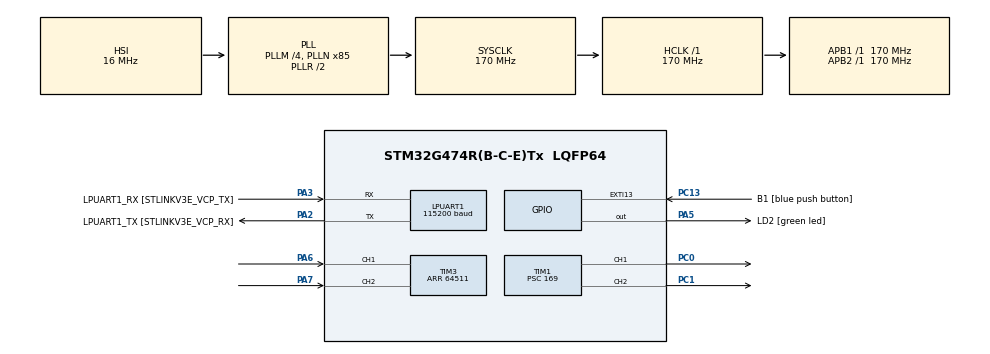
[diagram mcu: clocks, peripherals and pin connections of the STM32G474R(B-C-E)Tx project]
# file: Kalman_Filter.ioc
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ARM.CMSIS-DSP.1.15.0.CMSISJjDSP=Source
ARM.CMSIS.6.0.0.CMSISJjCORE=true
LPUART1.BaudRate=115200
LPUART1.WordLength=UART_WORDLENGTH_8B
Mcu.Family=STM32G4
Mcu.Name=STM32G474R(B-C-E)Tx
Mcu.Package=LQFP64
NVIC.EXTI15_10_IRQn=true\:0\:0\:false\:false\:true\:true\:true\:true
NVIC.PriorityGroup=NVIC_PRIORITYGROUP_4
NVIC.TIM4_IRQn=true\:0\:0\:false\:false\:true\:true\:true\:true
NVIC.TIM5_IRQn=true\:0\:0\:false\:false\:true\:true\:true\:true
PA13.GPIO_Label=T_SWDIO
PA13.Mode=Serial_Wire
PA13.Signal=SYS_JTMS-SWDIO
PA14.GPIO_Label=T_SWCLK
PA14.Mode=Serial_Wire
PA14.Signal=SYS_JTCK-SWCLK
PA2.GPIO_Label=LPUART1_TX [STLINKV3E_VCP_RX]
PA2.Mode=Asynchronous
PA2.Signal=LPUART1_TX
PA3.GPIO_Label=LPUART1_RX [STLINKV3E_VCP_TX]
PA3.Mode=Asynchronous
PA3.Signal=LPUART1_RX
PA5.GPIO_Label=LD2 [green led]
PA5.Signal=GPIO_Output
PA6.Signal=S_TIM3_CH1
PA7.Signal=S_TIM3_CH2
PB3.GPIO_Label=T_SWO
PB3.Signal=SYS_JTDO-SWO
PC0.Signal=S_TIM1_CH1
PC1.Signal=S_TIM1_CH2
PC13.GPIO_Label=B1 [blue push button]
PC13.Signal=GPXTI13
PC14-OSC32_IN.Mode=LSE-External-Oscillator
PC14-OSC32_IN.Signal=RCC_OSC32_IN
PC15-OSC32_OUT.Mode=LSE-External-Oscillator
PC15-OSC32_OUT.Signal=RCC_OSC32_OUT
PF0-OSC_IN.Mode=HSE-External-Oscillator
PF0-OSC_IN.Signal=RCC_OSC_IN
PF1-OSC_OUT.Mode=HSE-External-Oscillator
PF1-OSC_OUT.Signal=RCC_OSC_OUT
ProjectManager.HeapSize=0x200
ProjectManager.StackSize=0x400
ProjectManager.TargetToolchain=STM32CubeIDE
RCC.ADC12Freq_Value=170000000
RCC.ADC345Freq_Value=170000000
RCC.AHBFreq_Value=170000000
RCC.APB1Freq_Value=170000000
RCC.APB1TimFreq_Value=170000000
RCC.APB2Freq_Value=170000000
RCC.APB2TimFreq_Value=170000000
RCC.CortexFreq_Value=170000000
RCC.EXTERNAL_CLOCK_VALUE=12288000
RCC.HCLKFreq_Value=170000000
RCC.HSE_VALUE=24000000
RCC.HSI48_VALUE=48000000
RCC.HSI_VALUE=16000000
RCC.PLLM=RCC_PLLM_DIV4
RCC.PLLN=85
RCC.RTCClockSelection=RCC_RTCCLKSOURCE_LSE
RCC.SYSCLKFreq_VALUE=170000000
RCC.SYSCLKSource=RCC_SYSCLKSOURCE_PLLCLK
RCC.USBFreq_Value=170000000
RCC.VCOOutputFreq_Value=340000000
SH.S_TIM1_CH1.0=TIM1_CH1,PWM Generation1 CH1
SH.S_TIM1_CH2.0=TIM1_CH2,PWM Generation2 CH2
SH.S_TIM3_CH1.0=TIM3_CH1,Encoder_Interface
SH.S_TIM3_CH2.0=TIM3_CH2,Encoder_Interface
TIM1.Channel-PWM\ Generation1\ CH1=TIM_CHANNEL_1
TIM1.Channel-PWM\ Generation2\ CH2=TIM_CHANNEL_2
TIM1.PeriodNoDither=1000
TIM1.Prescaler=169
TIM3.EncoderMode=TIM_ENCODERMODE_TI12
TIM3.PeriodNoDither=64511
TIM4.PeriodNoDither=10
TIM4.Prescaler=169
TIM5.Prescaler=169
VP_ARM.CMSIS-DSP_VS_CMSISJjDSP_1.15.0_1.15.0.Mode=CMSISJjDSP
VP_ARM.CMSIS_VS_CMSISJjCORE_6.0.0_6.0.0.Mode=CMSISJjCORE
VP_SYS_VS_DBSignals.Mode=DisableDeadBatterySignals
VP_TIM1_VS_ClockSourceINT.Mode=Internal
VP_TIM4_VS_ClockSourceINT.Mode=Internal
VP_TIM5_VS_ClockSourceINT.Mode=Internal
board=NUCLEO-G474RE

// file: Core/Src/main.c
/* USER CODE BEGIN Header */
/**
  ******************************************************************************
  * @file           : main.c
  * @brief          : Main program body
  ******************************************************************************
  * @attention
  *
  * Copyright (c) 2024 STMicroelectronics.
  * All rights reserved.
  *
  * This software is licensed under terms that can be found in the LICENSE file
  * in the root directory of this software component.
  * If no LICENSE file comes with this software, it is provided AS-IS.
  *
  ***************************** 	*************************************************
  */
/* USER CODE END Header */
#include "main.h"

/* USER CODE BEGIN Includes */
#include "arm_math.h"

/* USER CODE END Includes */

UART_HandleTypeDef hlpuart1;

TIM_HandleTypeDef htim1;
TIM_HandleTypeDef htim3;
TIM_HandleTypeDef htim4;
TIM_HandleTypeDef htim5;

/* USER CODE BEGIN PV */
float diffTime;
int32_t diffPosition;
int start = 0;
uint32_t QEIReadRaw;
int PWM;
int timerCount;
int timerPWM;
int timerPWMCurve;
int timerPWMCurveMode;
float Voltage;
float Velo_Kalman_Lnw;
float Velo_Kalman_Wre[2];
float Acc_Kalman_Wre;
float Pos_Kalman_Wre[2];
float diffPosKalman;
float diffVelocity;
float diffVeloKalman;

typedef struct
{
// for record New / Old value to calculate dx / dt
	float Position[2];
	int QEIPosition;
	int TimeStamp[2];
	float Velocity[2];
	int QEIPostion_1turn;
	float QEIAngularVelocity;
	float QEIAngularVeloKalman;
	float QEIAcceleration;
}QEI_StructureTypeDef;
QEI_StructureTypeDef QEIdata = {0};
uint64_t _micros = 0;
enum
{
NEW,OLD
};

// �?ำห�?ดตัว�?�?ร Kalman
float32_t W_k[3] = {0.0f, 0.0f, 0.0f};
arm_matrix_instance_f32 W_k_matrix;

float32_t GW[3] = {0.0f, 0.0f, 0.0f};
arm_matrix_instance_f32 GW_matrix;

float32_t X_k[3] = {0.0f, 0.0f, 0.0f};
arm_matrix_instance_f32 X_k_matrix;

float32_t P_k[9] = {0.0f, 0.0f, 0.0f,
                    0.0f, 0.0f, 0.0f,
                    0.0f, 0.0f, 0.0f};
arm_matrix_instance_f32 P_k_matrix;

float32_t A[9] = {1.0f, 0.01f, 0.5*0.01*0.01f,
                  0.0f, 1.0f, 0.01f,
                  0.0f, 0.0f, 1.0f};
arm_matrix_instance_f32 A_matrix;

float32_t A_transpose[9] = {1.0f, 0.0f, 0.0f,
                            0.01f, 1.0f, 0.0f,
                            0.5*0.01*0.01f, 0.01f, 1.0f};
arm_matrix_instance_f32 A_transpose_matrix;

float32_t I[9] = {1.0f, 0.0f, 0.0f,
                  0.0f, 1.0f, 0.0f,
                  0.0f, 0.0f, 1.0f};
arm_matrix_instance_f32 I_matrix;

float32_t B[3] = {0.0f, 0.0f, 1.0f};
arm_matrix_instance_f32 B_matrix;

float32_t C[3] = {0.0f, 1.0f, 0.0f};
arm_matrix_instance_f32 C_matrix;

float32_t C_transpose[3] = {0.0f,
							1.0f,
							0.0f};
arm_matrix_instance_f32 C_transpose_matrix;

//float32_t G[3] = {0.0f, 0.0f, 1.0f};
float32_t G[3] = {0.5*0.01*0.01f,
				  0.01f,
				  1.0f};
arm_matrix_instance_f32 G_matrix;

float32_t G_transpose[3] = {0.5*0.01*0.01f, 0.01f, 1.0f};
arm_matrix_instance_f32 G_transpose_matrix;

float32_t Es_velocity[1] = {0.0f};
arm_matrix_instance_f32 Output_matrix;

arm_matrix_instance_f32 GGT_matrix;
float32_t GGT[9];

arm_matrix_instance_f32 GQGT_matrix;
float32_t GQGT[9];
//------------------------------------------- for equa ------------------------------------
// Compute Xk = Ax + Bu
arm_matrix_instance_f32 Bu_matrix;
float32_t Bu_data[3];
arm_matrix_instance_f32 Ax_matrix;
float32_t Ax_data[3];

// Compute (C * P_k * C^T + R)
arm_matrix_instance_f32 CP_matrix;
float32_t CP[3];
arm_matrix_instance_f32 CPCT_matrix;
float32_t CPCT[1];
arm_matrix_instance_f32 CPCTR_matrix;
float32_t CPCTR[1];

// Compute Kalman Gain: K = P_k * C^T * inv(C * P_k * C^T + R)
// Compute Xk = Ax + Bu
arm_matrix_instance_f32 Bu_matrix;
float32_t Bu_data[3];
arm_matrix_instance_f32 Ax_matrix;
float32_t Ax_data[3];

// Compute (C * P_k * C^T + R)
arm_matrix_instance_f32 CP_matrix;
float32_t CP[3];
arm_matrix_instance_f32 CPCT_matrix;
float32_t CPCT[1];
arm_matrix_instance_f32 CPCTR_matrix;
float32_t CPCTR[1];

// Compute Kalman Gain: K = P_k * C^T * inv(C * P_k * C^T + R)
arm_matrix_instance_f32 K_matrix;
float32_t K[3];
arm_matrix_instance_f32 PCT_matrix;
float32_t PCT[3];

// Compute inverse of (C * P_k * C^T + R)
arm_matrix_instance_f32 CPCTRinv_matrix;
float32_t CPCTRinv[1];

// Computation of the estimated state
arm_matrix_instance_f32 Cx_matrix;
float32_t Cx[1];
arm_matrix_instance_f32 yCx_matrix;
float32_t yCx[1];
arm_matrix_instance_f32 KyCx_matrix;
float32_t KyCx[3];

float32_t Q = 100.0f;
arm_matrix_instance_f32 R_matrix;
float32_t R[1] = {1.0f};

arm_matrix_instance_f32 Z_matrix;
float32_t Z[1];

arm_matrix_instance_f32 Velocity_matrix;

float Kalman_Speed;
/* USER CODE END PV */

void SystemClock_Config(void);
static void MX_GPIO_Init(void);
static void MX_LPUART1_UART_Init(void);
static void MX_TIM3_Init(void);
static void MX_TIM5_Init(void);
static void MX_TIM1_Init(void);
static void MX_TIM4_Init(void);
/* USER CODE BEGIN PFP */
uint64_t micros();
void QEIEncoderPosVel_Update();
void Kalman_Start();
float SteadyStateKalmanFilter(float32_t Vin,float32_t Velocity);
float KalmanFilter(float32_t Vin,float32_t Velocity);
/* USER CODE END PFP */

int main(void)
{

  /* MCU Configuration--------------------------------------------------------*/

  /* Reset of all peripherals, Initializes the Flash interface and the Systick. */
  HAL_Init();

  /* Configure the system clock */
  SystemClock_Config();

  /* Initialize all configured peripherals */
  MX_GPIO_Init();
  MX_LPUART1_UART_Init();
  MX_TIM3_Init();
  MX_TIM5_Init();
  MX_TIM1_Init();
  MX_TIM4_Init();
  /* USER CODE BEGIN 2 */
  HAL_TIM_Encoder_Start(&htim3,TIM_CHANNEL_ALL);
  HAL_TIM_Base_Start_IT(&htim5);
  HAL_TIM_Base_Start_IT(&htim4);
  HAL_TIM_PWM_Start(&htim1, TIM_CHANNEL_1);
  HAL_TIM_PWM_Start(&htim1, TIM_CHANNEL_2);
  Kalman_Start();
  /* USER CODE END 2 */

  /* Infinite loop */
  while (1)
  {

    /* USER CODE BEGIN 3 */
	  Voltage = 5.0*PWM/1000.0;
//	  PWM = 100 * sin(HAL_GetTick()/1000.0);

//	  if (start == 1)
//	  {
//		  __HAL_TIM_SET_COMPARE(&htim1, TIM_CHANNEL_1, 0);
//		  __HAL_TIM_SET_COMPARE(&htim1, TIM_CHANNEL_2, PWM);
//	  }
//	  else if (start == 0)
//	  {
//		  __HAL_TIM_SET_COMPARE(&htim1, TIM_CHANNEL_1, 0);
//		  __HAL_TIM_SET_COMPARE(&htim1, TIM_CHANNEL_2, 0);
//	  }

//	  QEIReadRaw = __HAL_TIM_GET_COUNTER(&htim3);

  }
  /* USER CODE END 3 */
}

void SystemClock_Config(void)
{
  RCC_OscInitTypeDef RCC_OscInitStruct = {0};
  RCC_ClkInitTypeDef RCC_ClkInitStruct = {0};

  /** Configure the main internal regulator output voltage
  */
  HAL_PWREx_ControlVoltageScaling(PWR_REGULATOR_VOLTAGE_SCALE1_BOOST);

  /** Initializes the RCC Oscillators according to the specified parameters
  * in the RCC_OscInitTypeDef structure.
  */
  RCC_OscInitStruct.OscillatorType = RCC_OSCILLATORTYPE_HSI;
  RCC_OscInitStruct.HSIState = RCC_HSI_ON;
  RCC_OscInitStruct.HSICalibrationValue = RCC_HSICALIBRATION_DEFAULT;
  RCC_OscInitStruct.PLL.PLLState = RCC_PLL_ON;
  RCC_OscInitStruct.PLL.PLLSource = RCC_PLLSOURCE_HSI;
  RCC_OscInitStruct.PLL.PLLM = RCC_PLLM_DIV4;
  RCC_OscInitStruct.PLL.PLLN = 85;
  RCC_OscInitStruct.PLL.PLLP = RCC_PLLP_DIV2;
  RCC_OscInitStruct.PLL.PLLQ = RCC_PLLQ_DIV2;
  RCC_OscInitStruct.PLL.PLLR = RCC_PLLR_DIV2;
  if (HAL_RCC_OscConfig(&RCC_OscInitStruct) != HAL_OK)
  {
    Error_Handler();
  }

  /** Initializes the CPU, AHB and APB buses clocks
  */
  RCC_ClkInitStruct.ClockType = RCC_CLOCKTYPE_HCLK|RCC_CLOCKTYPE_SYSCLK
                              |RCC_CLOCKTYPE_PCLK1|RCC_CLOCKTYPE_PCLK2;
  RCC_ClkInitStruct.SYSCLKSource = RCC_SYSCLKSOURCE_PLLCLK;
  RCC_ClkInitStruct.AHBCLKDivider = RCC_SYSCLK_DIV1;
  RCC_ClkInitStruct.APB1CLKDivider = RCC_HCLK_DIV1;
  RCC_ClkInitStruct.APB2CLKDivider = RCC_HCLK_DIV1;

  if (HAL_RCC_ClockConfig(&RCC_ClkInitStruct, FLASH_LATENCY_4) != HAL_OK)
  {
    Error_Handler();
  }
}

static void MX_LPUART1_UART_Init(void)
{

  hlpuart1.Instance = LPUART1;
  hlpuart1.Init.BaudRate = 115200;
  hlpuart1.Init.WordLength = UART_WORDLENGTH_8B;
  hlpuart1.Init.StopBits = UART_STOPBITS_1;
  hlpuart1.Init.Parity = UART_PARITY_NONE;
  hlpuart1.Init.Mode = UART_MODE_TX_RX;
  hlpuart1.Init.HwFlowCtl = UART_HWCONTROL_NONE;
  hlpuart1.Init.OneBitSampling = UART_ONE_BIT_SAMPLE_DISABLE;
  hlpuart1.Init.ClockPrescaler = UART_PRESCALER_DIV1;
  hlpuart1.AdvancedInit.AdvFeatureInit = UART_ADVFEATURE_NO_INIT;
  if (HAL_UART_Init(&hlpuart1) != HAL_OK)
  {
    Error_Handler();
  }
  if (HAL_UARTEx_SetTxFifoThreshold(&hlpuart1, UART_TXFIFO_THRESHOLD_1_8) != HAL_OK)
  {
    Error_Handler();
  }
  if (HAL_UARTEx_SetRxFifoThreshold(&hlpuart1, UART_RXFIFO_THRESHOLD_1_8) != HAL_OK)
  {
    Error_Handler();
  }
  if (HAL_UARTEx_DisableFifoMode(&hlpuart1) != HAL_OK)
  {
    Error_Handler();
  }

}

static void MX_TIM1_Init(void)
{

  TIM_ClockConfigTypeDef sClockSourceConfig = {0};
  TIM_MasterConfigTypeDef sMasterConfig = {0};
  TIM_OC_InitTypeDef sConfigOC = {0};
  TIM_BreakDeadTimeConfigTypeDef sBreakDeadTimeConfig = {0};

  htim1.Instance = TIM1;
  htim1.Init.Prescaler = 169;
  htim1.Init.CounterMode = TIM_COUNTERMODE_UP;
  htim1.Init.Period = 1000;
  htim1.Init.ClockDivision = TIM_CLOCKDIVISION_DIV1;
  htim1.Init.RepetitionCounter = 0;
  htim1.Init.AutoReloadPreload = TIM_AUTORELOAD_PRELOAD_DISABLE;
  if (HAL_TIM_Base_Init(&htim1) != HAL_OK)
  {
    Error_Handler();
  }
  sClockSourceConfig.ClockSource = TIM_CLOCKSOURCE_INTERNAL;
  if (HAL_TIM_ConfigClockSource(&htim1, &sClockSourceConfig) != HAL_OK)
  {
    Error_Handler();
  }
  if (HAL_TIM_PWM_Init(&htim1) != HAL_OK)
  {
    Error_Handler();
  }
  sMasterConfig.MasterOutputTrigger = TIM_TRGO_RESET;
  sMasterConfig.MasterOutputTrigger2 = TIM_TRGO2_RESET;
  sMasterConfig.MasterSlaveMode = TIM_MASTERSLAVEMODE_DISABLE;
  if (HAL_TIMEx_MasterConfigSynchronization(&htim1, &sMasterConfig) != HAL_OK)
  {
    Error_Handler();
  }
  sConfigOC.OCMode = TIM_OCMODE_PWM1;
  sConfigOC.Pulse = 0;
  sConfigOC.OCPolarity = TIM_OCPOLARITY_HIGH;
  sConfigOC.OCNPolarity = TIM_OCNPOLARITY_HIGH;
  sConfigOC.OCFastMode = TIM_OCFAST_DISABLE;
  sConfigOC.OCIdleState = TIM_OCIDLESTATE_RESET;
  sConfigOC.OCNIdleState = TIM_OCNIDLESTATE_RESET;
  if (HAL_TIM_PWM_ConfigChannel(&htim1, &sConfigOC, TIM_CHANNEL_1) != HAL_OK)
  {
    Error_Handler();
  }
  if (HAL_TIM_PWM_ConfigChannel(&htim1, &sConfigOC, TIM_CHANNEL_2) != HAL_OK)
  {
    Error_Handler();
  }
  sBreakDeadTimeConfig.OffStateRunMode = TIM_OSSR_DISABLE;
  sBreakDeadTimeConfig.OffStateIDLEMode = TIM_OSSI_DISABLE;
  sBreakDeadTimeConfig.LockLevel = TIM_LOCKLEVEL_OFF;
  sBreakDeadTimeConfig.DeadTime = 0;
  sBreakDeadTimeConfig.BreakState = TIM_BREAK_DISABLE;
  sBreakDeadTimeConfig.BreakPolarity = TIM_BREAKPOLARITY_HIGH;
  sBreakDeadTimeConfig.BreakFilter = 0;
  sBreakDeadTimeConfig.BreakAFMode = TIM_BREAK_AFMODE_INPUT;
  sBreakDeadTimeConfig.Break2State = TIM_BREAK2_DISABLE;
  sBreakDeadTimeConfig.Break2Polarity = TIM_BREAK2POLARITY_HIGH;
  sBreakDeadTimeConfig.Break2Filter = 0;
  sBreakDeadTimeConfig.Break2AFMode = TIM_BREAK_AFMODE_INPUT;
  sBreakDeadTimeConfig.AutomaticOutput = TIM_AUTOMATICOUTPUT_DISABLE;
  if (HAL_TIMEx_ConfigBreakDeadTime(&htim1, &sBreakDeadTimeConfig) != HAL_OK)
  {
    Error_Handler();
  }
  HAL_TIM_MspPostInit(&htim1);

}

static void MX_TIM3_Init(void)
{

  TIM_Encoder_InitTypeDef sConfig = {0};
  TIM_MasterConfigTypeDef sMasterConfig = {0};

  htim3.Instance = TIM3;
  htim3.Init.Prescaler = 0;
  htim3.Init.CounterMode = TIM_COUNTERMODE_UP;
  htim3.Init.Period = 64511;
  htim3.Init.ClockDivision = TIM_CLOCKDIVISION_DIV1;
  htim3.Init.AutoReloadPreload = TIM_AUTORELOAD_PRELOAD_DISABLE;
  sConfig.EncoderMode = TIM_ENCODERMODE_TI12;
  sConfig.IC1Polarity = TIM_ICPOLARITY_RISING;
  sConfig.IC1Selection = TIM_ICSELECTION_DIRECTTI;
  sConfig.IC1Prescaler = TIM_ICPSC_DIV1;
  sConfig.IC1Filter = 0;
  sConfig.IC2Polarity = TIM_ICPOLARITY_RISING;
  sConfig.IC2Selection = TIM_ICSELECTION_DIRECTTI;
  sConfig.IC2Prescaler = TIM_ICPSC_DIV1;
  sConfig.IC2Filter = 0;
  if (HAL_TIM_Encoder_Init(&htim3, &sConfig) != HAL_OK)
  {
    Error_Handler();
  }
  sMasterConfig.MasterOutputTrigger = TIM_TRGO_RESET;
  sMasterConfig.MasterSlaveMode = TIM_MASTERSLAVEMODE_DISABLE;
  if (HAL_TIMEx_MasterConfigSynchronization(&htim3, &sMasterConfig) != HAL_OK)
  {
    Error_Handler();
  }

}

static void MX_TIM4_Init(void)
{

  TIM_ClockConfigTypeDef sClockSourceConfig = {0};
  TIM_MasterConfigTypeDef sMasterConfig = {0};

  htim4.Instance = TIM4;
  htim4.Init.Prescaler = 169;
  htim4.Init.CounterMode = TIM_COUNTERMODE_UP;
  htim4.Init.Period = 10;
  htim4.Init.ClockDivision = TIM_CLOCKDIVISION_DIV1;
  htim4.Init.AutoReloadPreload = TIM_AUTORELOAD_PRELOAD_DISABLE;
  if (HAL_TIM_Base_Init(&htim4) != HAL_OK)
  {
    Error_Handler();
  }
  sClockSourceConfig.ClockSource = TIM_CLOCKSOURCE_INTERNAL;
  if (HAL_TIM_ConfigClockSource(&htim4, &sClockSourceConfig) != HAL_OK)
  {
    Error_Handler();
  }
  sMasterConfig.MasterOutputTrigger = TIM_TRGO_RESET;
  sMasterConfig.MasterSlaveMode = TIM_MASTERSLAVEMODE_DISABLE;
  if (HAL_TIMEx_MasterConfigSynchronization(&htim4, &sMasterConfig) != HAL_OK)
  {
    Error_Handler();
  }

}

static void MX_TIM5_Init(void)
{

  TIM_ClockConfigTypeDef sClockSourceConfig = {0};
  TIM_MasterConfigTypeDef sMasterConfig = {0};

  htim5.Instance = TIM5;
  htim5.Init.Prescaler = 169;
  htim5.Init.CounterMode = TIM_COUNTERMODE_UP;
  htim5.Init.Period = 4294967295;
  htim5.Init.ClockDivision = TIM_CLOCKDIVISION_DIV1;
  htim5.Init.AutoReloadPreload = TIM_AUTORELOAD_PRELOAD_DISABLE;
  if (HAL_TIM_Base_Init(&htim5) != HAL_OK)
  {
    Error_Handler();
  }
  sClockSourceConfig.ClockSource = TIM_CLOCKSOURCE_INTERNAL;
  if (HAL_TIM_ConfigClockSource(&htim5, &sClockSourceConfig) != HAL_OK)
  {
    Error_Handler();
  }
  sMasterConfig.MasterOutputTrigger = TIM_TRGO_RESET;
  sMasterConfig.MasterSlaveMode = TIM_MASTERSLAVEMODE_DISABLE;
  if (HAL_TIMEx_MasterConfigSynchronization(&htim5, &sMasterConfig) != HAL_OK)
  {
    Error_Handler();
  }

}

static void MX_GPIO_Init(void)
{
  GPIO_InitTypeDef GPIO_InitStruct = {0};

  /* GPIO Ports Clock Enable */
  __HAL_RCC_GPIOC_CLK_ENABLE();
  __HAL_RCC_GPIOF_CLK_ENABLE();
  __HAL_RCC_GPIOA_CLK_ENABLE();
  __HAL_RCC_GPIOB_CLK_ENABLE();

  /*Configure GPIO pin Output Level */
  HAL_GPIO_WritePin(LD2_GPIO_Port, LD2_Pin, GPIO_PIN_RESET);

  /*Configure GPIO pin : B1_Pin */
  GPIO_InitStruct.Pin = B1_Pin;
  GPIO_InitStruct.Mode = GPIO_MODE_IT_RISING;
  GPIO_InitStruct.Pull = GPIO_NOPULL;
  HAL_GPIO_Init(B1_GPIO_Port, &GPIO_InitStruct);

  /*Configure GPIO pin : LD2_Pin */
  GPIO_InitStruct.Pin = LD2_Pin;
  GPIO_InitStruct.Mode = GPIO_MODE_OUTPUT_PP;
  GPIO_InitStruct.Pull = GPIO_NOPULL;
  GPIO_InitStruct.Speed = GPIO_SPEED_FREQ_LOW;
  HAL_GPIO_Init(LD2_GPIO_Port, &GPIO_InitStruct);

  /* EXTI interrupt init*/
  HAL_NVIC_SetPriority(EXTI15_10_IRQn, 0, 0);
  HAL_NVIC_EnableIRQ(EXTI15_10_IRQn);

}

/* USER CODE BEGIN 4 */

//signed long kalman_filter(signed long ADC_Value)
//{
//    float x_k1_k1,x_k_k1;
//    static float ADC_OLD_Value;
//    float Z_k;
//    static float P_k1_k1;
//
//    static float Q = 0.01;//Q: Regulation noise, Q increases, dynamic response becomes faster, and convergence stability becomes worse
//    static float R = 1; //R: Test noise, R increases, dynamic response becomes slower, convergence stability becomes better
//    static float Kg = 0;
//    static float P_k_k1 = 1;
//
//    float kalman_adc;
//    static float kalman_adc_old=0;
//    Z_k = ADC_Value;
//    x_k1_k1 = kalman_adc_old;
//
//    x_k_k1 = x_k1_k1;
//    P_k_k1 = P_k1_k1 + Q;
//
//    Kg = P_k_k1/(P_k_k1 + R);
//
//    kalman_adc = x_k_k1 + Kg * (Z_k - kalman_adc_old);
//    P_k1_k1 = (1 - Kg)*P_k_k1;
//    P_k_k1 = P_k1_k1;
//
//    ADC_OLD_Value = ADC_Value;
//    kalman_adc_old = kalman_adc;
//
//    return kalman_adc;
//}

//MicroSecondTimer Implement
void HAL_TIM_PeriodElapsedCallback(TIM_HandleTypeDef *htim)
{
	if(htim == &htim5)
	{
		_micros += UINT32_MAX;
	}
	if(htim == &htim4)
	{
//		QEIEncoderPosVel_Update();
		timerCount++;
		timerPWM++;
		timerPWMCurve++;

		if(timerCount == 1000)
		{
			QEIEncoderPosVel_Update();
			timerCount = 0;
		}
		if(timerPWM == 100)
		{
			if(timerPWMCurve == 100000)
			{
				PWM = 0;
			}
			else if (timerPWMCurve == 200000)
			{
				PWM = 400;
			}
			else if (timerPWMCurve == 300000)
			{
				PWM = 200;
			}
			else if (timerPWMCurve == 400000)
			{
				PWM = 1000;
			}
			else if (timerPWMCurve == 500000)
			{
				PWM = 0;
				timerPWMCurve = 0;
			}

			if (start == 1)
			{
				__HAL_TIM_SET_COMPARE(&htim1, TIM_CHANNEL_1, 0);
				__HAL_TIM_SET_COMPARE(&htim1, TIM_CHANNEL_2, PWM);
			}
			else if (start == 0)
			{
				__HAL_TIM_SET_COMPARE(&htim1, TIM_CHANNEL_1, 0);
				__HAL_TIM_SET_COMPARE(&htim1, TIM_CHANNEL_2, 0);
			}
			timerPWM = 0;
		}
	}
}
uint64_t micros()
{
	return __HAL_TIM_GET_COUNTER(&htim5)+_micros;
}

void QEIEncoderPosVel_Update()
{
    QEIdata.Position[NEW] = __HAL_TIM_GET_COUNTER(&htim3);
    Velo_Kalman_Wre[NEW] = (diffPosKalman / diffTime)* 2 * 3.14159265359 * 9.5492968 / 3072.0;
    Pos_Kalman_Wre[NEW] = KalmanFilter(0,QEIdata.Position[NEW]);
    QEIdata.TimeStamp[NEW] = micros();
    QEIdata.Velocity[NEW] = QEIdata.QEIAngularVelocity;
    diffTime = (QEIdata.TimeStamp[NEW] - QEIdata.TimeStamp[OLD]) / 1000000.0f; // seconds
    diffPosition = QEIdata.Position[NEW] - QEIdata.Position[OLD];
    diffVelocity = QEIdata.Velocity[NEW] - QEIdata.Velocity[OLD];
    diffPosKalman = Pos_Kalman_Wre[NEW] - Pos_Kalman_Wre[OLD];
    diffVeloKalman = Velo_Kalman_Wre[NEW] - Velo_Kalman_Wre[OLD];
    // Handle wrap-around
    if (diffPosition > 32256)
        diffPosition -= 64512;
    else if (diffPosition < -32256)
        diffPosition += 64512;

    if (diffPosKalman > 32256)
		diffPosKalman -= 64512;
	else if (diffPosKalman < -32256)
		diffPosKalman += 64512;

    Acc_Kalman_Wre = (diffVeloKalman / diffTime);
    // Calculate the angular velocity
    QEIdata.QEIAngularVelocity = (diffPosition / diffTime) * 2 * 3.14159265359 * 9.5492968 / 3072.0; // rad/s (assuming 3072 counts per revolution)
    QEIdata.QEIAcceleration = (diffVelocity / diffTime);

    // Use the Kalman filter to smooth the angular velocity
//    Velo_Kalman_Wre = KalmanFilter(0,QEIdata.QEIAngularVelocity);
//    Acc_Kalman_Wre = KalmanFilter(0,QEIdata.QEIAcceleration);

    // Update old values
    Pos_Kalman_Wre[OLD] =  Pos_Kalman_Wre[NEW];
    QEIdata.Position[OLD] = QEIdata.Position[NEW];
    QEIdata.TimeStamp[OLD] = QEIdata.TimeStamp[NEW];
    QEIdata.Velocity[OLD] = QEIdata.Velocity[NEW];
    Velo_Kalman_Wre[OLD] = Velo_Kalman_Wre[NEW];

	 // Collect data
//	    QEIdata.TimeStamp[NEW] = micros();
//	    QEIdata.Position[NEW] = QEIReadRaw;
//
//	    // Calculate position within one turn
//	    QEIdata.QEIPostion_1turn = QEIdata.Position[NEW] % 3072;
//
//	    // Calculate dx (difference in position)
//	    diffPosition = QEIdata.Position[NEW] - QEIdata.Position[OLD];
//
//	    // Handle wrap-around
//	    if (diffPosition > 32256)
//	        diffPosition -= 64512;
//	    else if (diffPosition < -32256)
//	        diffPosition += 64512;
//
//	    // Calculate dt (difference in time)
//	    diffTime = (float)(QEIdata.TimeStamp[NEW] - QEIdata.TimeStamp[OLD]) * 0.000001f; // Convert to seconds
//
//	    // Avoid division by zero
//	    if (diffTime > 0.0f)
//	    {
//	        // Calculate angular velocity
//	        QEIdata.QEIAngularVelocity = (float)diffPosition / diffTime;
//
//	        // Apply Kalman filter
////	        QEIdata.QEIAngularVeloKalman = kalman_filter(QEIdata.QEIAngularVelocity);
//	    }
//	    else
//	    {
//	        QEIdata.QEIAngularVelocity = 0.0f;
////	        QEIdata.QEIAngularVeloKalman = kalman_filter(0.0f);
//	    }
//
//	    // Store values for the next loop
//	    QEIdata.Position[OLD] = QEIdata.Position[NEW];
//	    QEIdata.TimeStamp[OLD] = QEIdata.TimeStamp[NEW];
}

volatile arm_status Calst;
float checkVal;

float KalmanFilter(float32_t Vin,float32_t Velocity){
	  arm_mat_init_f32(&Velocity_matrix, 1, 1,(float32_t*) &Velocity);
	  // Compute Xk = Ax + Bu + Gw
	  arm_mat_scale_f32(&B_matrix, 0, &Bu_matrix); 		   				// Bu
	  arm_mat_mult_f32(&A_matrix, &X_k_matrix, &Ax_matrix);  		   		// Ax
	  arm_mat_add_f32(&Ax_matrix, &Bu_matrix, &X_k_matrix); 		   		// Xk = Ax + Bu
	  arm_mat_add_f32(&X_k_matrix, &GW_matrix, &X_k_matrix);			// Xk = Ax + Bu + Gw

	  // Compute (A * P_pk * A^T + G * Q * G^T)
	  arm_mat_mult_f32(&A_matrix, &P_k_matrix, &P_k_matrix);  		   		// Pk = A * P_pk
	  arm_mat_mult_f32(&P_k_matrix, &A_transpose_matrix, &P_k_matrix); 		// Pk = A * P_pk * A^T
	  arm_mat_mult_f32(&G_matrix, &G_transpose_matrix, &GGT_matrix);        // G * G^T
	  arm_mat_scale_f32(&GGT_matrix, Q, &GQGT_matrix); 				   	   	// G * Q
	  arm_mat_add_f32(&P_k_matrix, &GQGT_matrix, &P_k_matrix); 	       		// A * P_pk * A^T + G * Q * G^T

	  // Compute (C * P_k * C^T + R)
	  arm_mat_mult_f32(&C_matrix, &P_k_matrix, &CP_matrix);			     // C * Pk
	  arm_mat_mult_f32(&CP_matrix, &C_transpose_matrix, &CPCT_matrix);   // C * Pk * C^T
	  arm_mat_add_f32(&CPCT_matrix, &R_matrix, &CPCTR_matrix);			 // C * P_k * C^T + R

	  // Compute inverse of (C * P_k * C^T + R)
	  arm_mat_inverse_f32(&CPCTR_matrix, &CPCTRinv_matrix);					 // inverse of (C * P_k * C^T + R)

	  // Compute Kalman Gain: K = P_k * C^T * inv(C * P_k * C^T + R)
	  arm_mat_mult_f32(&P_k_matrix, &C_transpose_matrix, &PCT_matrix); 		 // P_k * C^T
	  arm_mat_mult_f32(&PCT_matrix, &CPCTRinv_matrix, &K_matrix);  			 // P_k * C^T * inv(C * P_k * C^T + R)

	  // Computation of the estimated state
	  arm_mat_mult_f32(&C_matrix, &X_k_matrix, &Cx_matrix);				 // C * X_k
	  arm_mat_sub_f32(&Velocity_matrix,  &Cx_matrix, &yCx_matrix);			  // y - ( C * X_k )
	  arm_mat_mult_f32(&K_matrix, &yCx_matrix, &KyCx_matrix);		     // K( y - ( C * X_k ) )
	  arm_mat_add_f32(&X_k_matrix, &KyCx_matrix, &X_k_matrix);		 	 // X_k + K( y - ( C * X_k ) )

	  // Computation of the estimated output
	  arm_mat_mult_f32(&C_matrix, &X_k_matrix, &Output_matrix);

	  // Computation of the state covariance error
	  arm_matrix_instance_f32 temp_matrix4;
	  float32_t temp_data4[9];
	  arm_mat_init_f32(&temp_matrix4, 3, 3,(float32_t*) &temp_data4);

	  arm_mat_mult_f32(&K_matrix, &C_matrix, &temp_matrix4);				// K * C
	  arm_mat_sub_f32(&I_matrix, &temp_matrix4, &temp_matrix4);			// (I - (K * C))
	  arm_mat_mult_f32(&temp_matrix4, &P_k_matrix, &P_k_matrix);			// (I - (K * C)) * P_k
	  Kalman_Speed = X_k[1];
	  return  Kalman_Speed;
}
void Kalman_Start(){
	arm_mat_init_f32(&X_k_matrix, 3, 1,(float32_t*) &X_k);
	arm_mat_init_f32(&P_k_matrix, 3, 3,(float32_t*) &P_k);
	arm_mat_init_f32(&W_k_matrix, 3, 1,(float32_t*) &W_k);

	arm_mat_init_f32(&A_matrix, 3, 3,(float32_t*) &A);
	arm_mat_init_f32(&B_matrix, 3, 1,(float32_t*) &B);
	arm_mat_init_f32(&C_matrix, 1, 3,(float32_t*) &C);
	arm_mat_init_f32(&G_matrix, 3, 1,(float32_t*) &G);

	arm_mat_init_f32(&A_transpose_matrix, 3, 3,(float32_t*) &A_transpose);
	arm_mat_init_f32(&C_transpose_matrix, 3, 1,(float32_t*) &C_transpose);
	arm_mat_init_f32(&G_transpose_matrix, 1, 3,(float32_t*) &G_transpose);

	arm_mat_init_f32(&GGT_matrix, 3, 3,(float32_t*) &GGT);
	arm_mat_init_f32(&GQGT_matrix, 3, 3,(float32_t*) &GQGT);

	// Compute Xk = Ax + Bu
	arm_mat_init_f32(&Bu_matrix, 3, 1,(float32_t*) &Bu_data);
	arm_mat_init_f32(&Ax_matrix, 3, 1,(float32_t*) &Ax_data);
//	arm_mat_init_f32(&GW_matrix, 3, 1,(float32_t*) &GW_);

	// Compute (C * P_k * C^T + R)
	arm_mat_init_f32(&CP_matrix, 1, 3,(float32_t*) &CP);
	arm_mat_init_f32(&CPCT_matrix, 1, 1,(float32_t*) &CPCT);
	arm_mat_init_f32(&CPCTR_matrix, 1, 1,(float32_t*) &CPCTR);

	// Compute Kalman Gain: K = P_k * C^T * inv(C * P_k * C^T + R)
	arm_mat_init_f32(&K_matrix, 3, 1,(float32_t*) &K);
	arm_mat_init_f32(&PCT_matrix, 3, 1,(float32_t*) &PCT);

	// Compute inverse of (C * P_k * C^T + R)
	arm_mat_init_f32(&CPCTRinv_matrix, 1, 1,(float32_t*) &CPCTRinv);

	// Computation of the estimated state
	arm_mat_init_f32(&Cx_matrix, 1, 1,(float32_t*) &Cx);
	arm_mat_init_f32(&yCx_matrix, 1, 1,(float32_t*) &yCx);
	arm_mat_init_f32(&KyCx_matrix, 3, 1,(float32_t*) &KyCx);

	arm_mat_init_f32(&Output_matrix, 1, 1,(float32_t*) &Es_velocity);

	arm_mat_init_f32(&I_matrix, 3, 3,(float32_t*) &I);

	arm_mat_init_f32(&R_matrix, 1, 1,(float32_t*) &R);
	arm_mat_init_f32(&Z_matrix, 1, 1,(float32_t*) &Z);
}

/* USER CODE END 4 */

void Error_Handler(void)
{
  __disable_irq();
  while (1)
  {
  }
}
